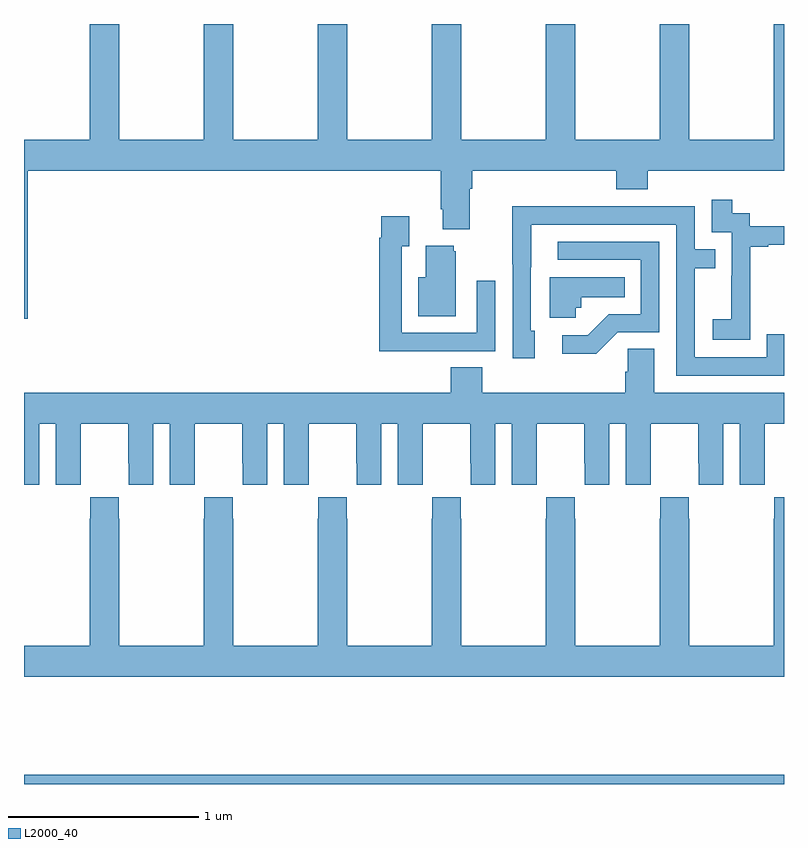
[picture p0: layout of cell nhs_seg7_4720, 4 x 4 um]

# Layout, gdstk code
import gdstk
lib = gdstk.Library(unit=1e-6, precision=1e-09)
def R(c, l, rs):  # rectangles x0, y0, x1, y1
    for r in rs: c.add(gdstk.rectangle(r[:2], r[2:], *l))
def P(c, l, *ps):  # polygons
    for p in ps: c.add(gdstk.Polygon(p, *l))
L2000_40 = (2000, 40)

nhs_seg7_4720 = lib.new_cell('nhs_seg7_4720')
R(nhs_seg7_4720, L2000_40, [(407,1052,411,1052.048)])
P(nhs_seg7_4720, L2000_40, [(407.021,1055.228),(409.193,1055.228),(409.193,1055.026),(409.205,1055.026),(409.205,1054.919),(409.345,1054.919),(409.345,1055.132),(409.358,1055.132),(409.358,1055.228),(410.117,1055.228),(410.117,1055.129),(410.282,1055.129),(410.282,1055.228),(411,1055.228),(411,1056),(410.947,1056),(410.947,1055.392),(410.502,1055.392),(410.502,1056),(410.347,1056),(410.347,1055.392),(409.902,1055.392),(409.902,1056),(409.747,1056),(409.747,1055.392),(409.302,1055.392),(409.302,1056),(409.147,1056),(409.147,1055.392),(408.702,1055.392),(408.702,1056),(408.547,1056),(408.547,1055.392),(408.102,1055.392),(408.102,1056),(407.947,1056),(407.947,1055.392),(407.502,1055.392),(407.502,1056),(407.347,1056),(407.347,1055.392),(407,1055.392),(407,1054.449),(407.021,1054.449)],
  [(410.823,1054.543),(410.822,1054.543),(410.822,1054.827),(410.917,1054.827),(410.917,1054.839),(411,1054.839),(411,1054.935),(410.82,1054.935),(410.82,1055.004),(410.728,1055.004),(410.728,1055.074),(410.619,1055.074),(410.619,1054.905),(410.724,1054.905),(410.724,1054.676),(410.723,1054.676),(410.723,1054.447),(410.625,1054.447),(410.625,1054.337),(410.823,1054.337)],
  [(411,1054.368),(410.91,1054.368),(410.91,1054.245),(410.529,1054.245),(410.529,1054.714),(410.639,1054.714),(410.639,1054.815),(410.529,1054.815),(410.529,1055.04),(410.033,1055.04),(410.033,1055.042),(409.57,1055.042),(409.57,1054.735),(409.572,1054.735),(409.572,1054.242),(409.687,1054.242),(409.687,1054.386),(409.668,1054.386),(409.668,1054.72),(409.669,1054.72),(409.669,1054.944),(410.433,1054.944),(410.433,1054.149),(411,1054.149)],
  [(409.163,1054.278),(409.479,1054.278),(409.479,1054.648),(409.383,1054.648),(409.383,1054.374),(408.987,1054.374),(408.987,1054.831),(409.027,1054.831),(409.027,1054.987),(408.879,1054.987),(408.879,1054.874),(408.871,1054.874),(408.871,1054.277),(409.163,1054.277)],
  [(410.124,1054.377),(410.343,1054.377),(410.343,1054.854),(409.809,1054.854),(409.809,1054.758),(410.247,1054.758),(410.247,1054.473),(410.078,1054.473),(409.967,1054.362),(409.833,1054.362),(409.833,1054.265),(410.011,1054.265)],
  [(409.273,1054.803),(409.262,1054.803),(409.262,1054.834),(409.115,1054.834),(409.115,1054.666),(409.076,1054.666),(409.076,1054.463),(409.273,1054.463)],
  [(409.905,1054.506),(409.932,1054.506),(409.932,1054.562),(410.162,1054.562),(410.162,1054.666),(409.766,1054.666),(409.766,1054.454),(409.905,1054.454)],
  [(409.412,1054.193),(409.247,1054.193),(409.247,1054.06),(407,1054.06),(407,1053.576),(407.08,1053.576),(407.08,1053.896),(407.168,1053.896),(407.168,1053.576),(407.298,1053.576),(407.298,1053.688),(407.299,1053.688),(407.299,1053.896),(407.549,1053.896),(407.549,1053.688),(407.55,1053.688),(407.55,1053.576),(407.68,1053.576),(407.68,1053.896),(407.768,1053.896),(407.768,1053.576),(407.898,1053.576),(407.898,1053.688),(407.899,1053.688),(407.899,1053.896),(408.149,1053.896),(408.149,1053.688),(408.15,1053.688),(408.15,1053.576),(408.28,1053.576),(408.28,1053.896),(408.368,1053.896),(408.368,1053.576),(408.498,1053.576),(408.498,1053.688),(408.499,1053.688),(408.499,1053.896),(408.749,1053.896),(408.749,1053.688),(408.75,1053.688),(408.75,1053.576),(408.88,1053.576),(408.88,1053.896),(408.968,1053.896),(408.968,1053.576),(409.098,1053.576),(409.098,1053.688),(409.099,1053.688),(409.099,1053.896),(409.349,1053.896),(409.349,1053.688),(409.35,1053.688),(409.35,1053.576),(409.48,1053.576),(409.48,1053.896),(409.568,1053.896),(409.568,1053.576),(409.698,1053.576),(409.698,1053.688),(409.699,1053.688),(409.699,1053.896),(409.949,1053.896),(409.949,1053.688),(409.95,1053.688),(409.95,1053.576),(410.08,1053.576),(410.08,1053.896),(410.168,1053.896),(410.168,1053.576),(410.298,1053.576),(410.298,1053.688),(410.299,1053.688),(410.299,1053.896),(410.549,1053.896),(410.549,1053.688),(410.55,1053.688),(410.55,1053.576),(410.68,1053.576),(410.68,1053.896),(410.768,1053.896),(410.768,1053.576),(410.898,1053.576),(410.898,1053.688),(410.899,1053.688),(410.899,1053.896),(411,1053.896),(411,1054.06),(410.317,1054.06),(410.317,1054.292),(410.178,1054.292),(410.178,1054.169),(410.165,1054.169),(410.165,1054.06),(409.412,1054.06)],
  [(411,1053.508),(410.949,1053.508),(410.949,1053.395),(410.947,1053.395),(410.947,1052.728),(410.502,1052.728),(410.502,1053.395),(410.499,1053.395),(410.499,1053.508),(410.349,1053.508),(410.349,1053.395),(410.347,1053.395),(410.347,1052.728),(409.902,1052.728),(409.902,1053.395),(409.899,1053.395),(409.899,1053.508),(409.749,1053.508),(409.749,1053.395),(409.747,1053.395),(409.747,1052.728),(409.302,1052.728),(409.302,1053.395),(409.299,1053.395),(409.299,1053.508),(409.149,1053.508),(409.149,1053.395),(409.147,1053.395),(409.147,1052.728),(408.702,1052.728),(408.702,1053.395),(408.699,1053.395),(408.699,1053.508),(408.549,1053.508),(408.549,1053.395),(408.547,1053.395),(408.547,1052.728),(408.102,1052.728),(408.102,1053.395),(408.099,1053.395),(408.099,1053.508),(407.949,1053.508),(407.949,1053.395),(407.947,1053.395),(407.947,1052.728),(407.502,1052.728),(407.502,1053.395),(407.499,1053.395),(407.499,1053.508),(407.349,1053.508),(407.349,1053.395),(407.347,1053.395),(407.347,1052.728),(407,1052.728),(407,1052.564),(411,1052.564)])

lib.write_gds('nhs_seg7_4720.gds')
